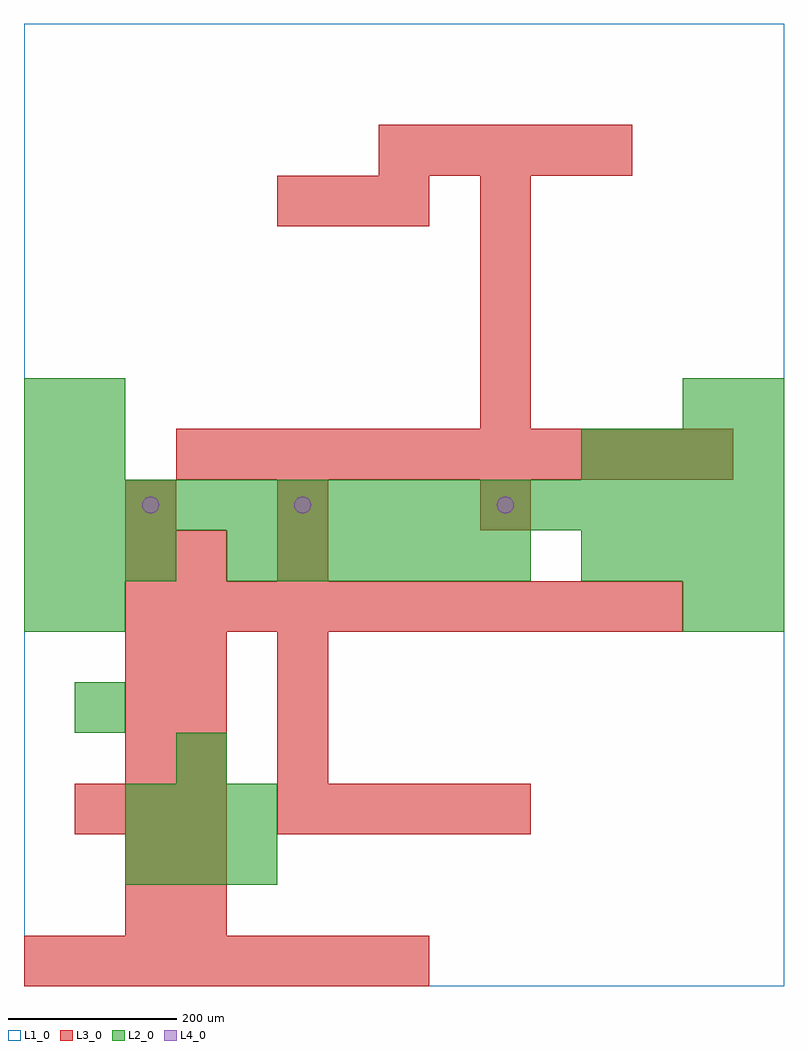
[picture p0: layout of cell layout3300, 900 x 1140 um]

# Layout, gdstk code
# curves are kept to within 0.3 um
import gdstk
lib = gdstk.Library(unit=1e-6, precision=1e-09)
def R(c, l, rs):  # rectangles x0, y0, x1, y1
    for r in rs: c.add(gdstk.rectangle(r[:2], r[2:], *l))
def A(c, l, x, y, w, h, nx, ny, dx, dy):  # array of equal rectangles
    R(c, l, [(x+i*dx, y+j*dy, x+i*dx+w, y+j*dy+h) for i in range(nx) for j in range(ny)])
def P(c, l, *ps):  # polygons
    for p in ps: c.add(gdstk.Polygon(p, *l))
L1_0 = (1, 0)
L2_0 = (2, 0)
L3_0 = (3, 0)
L4_0 = (4, 0)

layout3300 = lib.new_cell('layout3300')
R(layout3300, L1_0, [(0,0,900,1140)])
A(layout3300, L2_0, 120, 120, 60, 60, 3, 2, 60, 60)
A(layout3300, L2_0, 0, 480, 60, 60, 3, 1, 60, 0)
A(layout3300, L2_0, 240, 480, 60, 60, 6, 1, 60, 0)
A(layout3300, L2_0, 660, 480, 60, 60, 4, 2, 60, 120)
A(layout3300, L2_0, 0, 540, 60, 60, 15, 1, 60, 0)
R(layout3300, L2_0, [(180,240,240,300), (60,300,120,360), (0,420,60,480), (60,420,120,480), (780,420,840,480), (840,420,900,480), (0,600,60,660), (60,600,120,660), (0,660,60,720), (60,660,120,720), (780,660,840,720), (840,660,900,720)])
A(layout3300, L3_0, 0, 0, 60, 60, 8, 1, 60, 0)
A(layout3300, L3_0, 60, 180, 60, 60, 3, 1, 60, 0)
A(layout3300, L3_0, 300, 180, 60, 60, 5, 1, 60, 0)
A(layout3300, L3_0, 120, 240, 60, 60, 1, 3, 0, 60)
A(layout3300, L3_0, 180, 240, 60, 60, 1, 3, 0, 60)
A(layout3300, L3_0, 300, 240, 60, 60, 1, 3, 0, 60)
A(layout3300, L3_0, 120, 420, 60, 60, 11, 1, 60, 0)
A(layout3300, L3_0, 180, 600, 60, 60, 11, 1, 60, 0)
A(layout3300, L3_0, 540, 660, 60, 60, 1, 5, 0, 60)
A(layout3300, L3_0, 300, 900, 60, 60, 3, 1, 60, 0)
A(layout3300, L3_0, 420, 960, 60, 60, 5, 1, 60, 0)
R(layout3300, L3_0, [(120,60,180,120), (180,60,240,120), (120,120,180,180), (180,120,240,180), (120,480,180,540), (180,480,240,540), (300,480,360,540), (120,540,180,600), (300,540,360,600), (540,540,600,600)])
P(layout3300, L4_0, [(160,570),(159.239,573.827),(157.071,577.071),(153.827,579.239),(150,580),(146.173,579.239),(142.929,577.071),(140.761,573.827),(140,570),(140.761,566.173),(142.929,562.929),(146.173,560.761),(150,560),(153.827,560.761),(157.071,562.929),(159.239,566.173)],
  [(340,570),(339.239,573.827),(337.071,577.071),(333.827,579.239),(330,580),(326.173,579.239),(322.929,577.071),(320.761,573.827),(320,570),(320.761,566.173),(322.929,562.929),(326.173,560.761),(330,560),(333.827,560.761),(337.071,562.929),(339.239,566.173)],
  [(580,570),(579.239,573.827),(577.071,577.071),(573.827,579.239),(570,580),(566.173,579.239),(562.929,577.071),(560.761,573.827),(560,570),(560.761,566.173),(562.929,562.929),(566.173,560.761),(570,560),(573.827,560.761),(577.071,562.929),(579.239,566.173)])

lib.write_gds('layout3300.gds')
